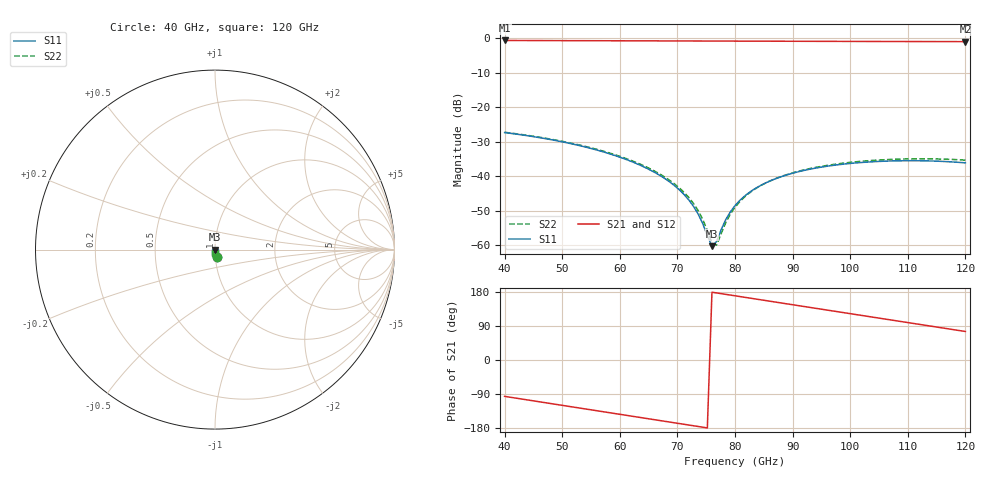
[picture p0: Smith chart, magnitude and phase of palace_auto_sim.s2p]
#  GHZ S DB R 50
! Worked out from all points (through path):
!   101 points, 40 GHz to 120 GHz, reference 50 ohm
!   highest |S21| = -0.64 dB at 40 GHz (marker M1); lowest = -1.0 dB at 120 GHz (marker M2)
!   group delay of S21, straight-line fit = 6.56 ps
!   lowest |S11| = -60.2 dB at 76 GHz (marker M3), VSWR 1.00, Z = 50 - j0.0968 ohm
!   |S11| at or under -10 dB: start of sweep to end of sweep
!   |S22| runs from -59.9 to -27.2 dB; largest |S21 - S12| = 1.1e-14
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40  -27.32 -75.6  -0.64 -96.0  -0.64 -96.0  -27.24 -75.8
46.4  -28.88 -90.7  -0.67 -111.1  -0.67 -111.1  -28.76 -91.0
53.6  -31.33 -107.4  -0.70 -128.2  -0.70 -128.2  -31.16 -107.8
61.6  -35.43 -125.3  -0.74 -147.1  -0.74 -147.1  -35.16 -125.8
67.2  -39.98 -136.4  -0.77 -160.3  -0.77 -160.3  -39.58 -137.1
70.4  -44.01 -140.7  -0.78 -167.9  -0.78 -167.9  -43.45 -141.8
72.8  -48.69 -140.0  -0.79 -173.6  -0.79 -173.6  -47.87 -142.0
73.6  -50.91 -137.3  -0.80 -175.4  -0.80 -175.4  -49.91 -140.1
74.4  -53.69 -131.3  -0.80 -177.3  -0.80 -177.3  -52.46 -135.7
76  -60.22 -83.4  -0.81 178.9  -0.81 178.9  -59.35 -100.4
76.8  -58.87 -41.6  -0.81 177.0  -0.81 177.0  -59.89 -56.2
77.6  -55.41 -20.7  -0.82 175.1  -0.82 175.1  -56.58 -27.3
78.4  -52.52 -12.0  -0.82 173.2  -0.82 173.2  -53.38 -15.4
80  -48.49 -6.6  -0.83 169.4  -0.83 169.4  -48.96 -8.1
82.4  -44.75 -6.8  -0.84 163.8  -0.84 163.8  -44.95 -7.9
85.6  -41.68 -11.2  -0.85 156.2  -0.85 156.2  -41.71 -12.1
89.6  -39.28 -18.5  -0.87 146.8  -0.87 146.8  -39.19 -19.4
93.6  -37.73 -26.4  -0.89 137.4  -0.89 137.4  -37.55 -27.4
100.8  -36.14 -41.1  -0.92 120.4  -0.92 120.4  -35.82 -42.3
107.2  -35.54 -54.4  -0.94 105.4  -0.94 105.4  -35.09 -56.0
113.6  -35.53 -68.1  -0.96 90.3  -0.96 90.3  -34.93 -70.1
120  -36.10 -82.1  -0.98 75.2  -0.98 75.2  -35.30 -84.6
